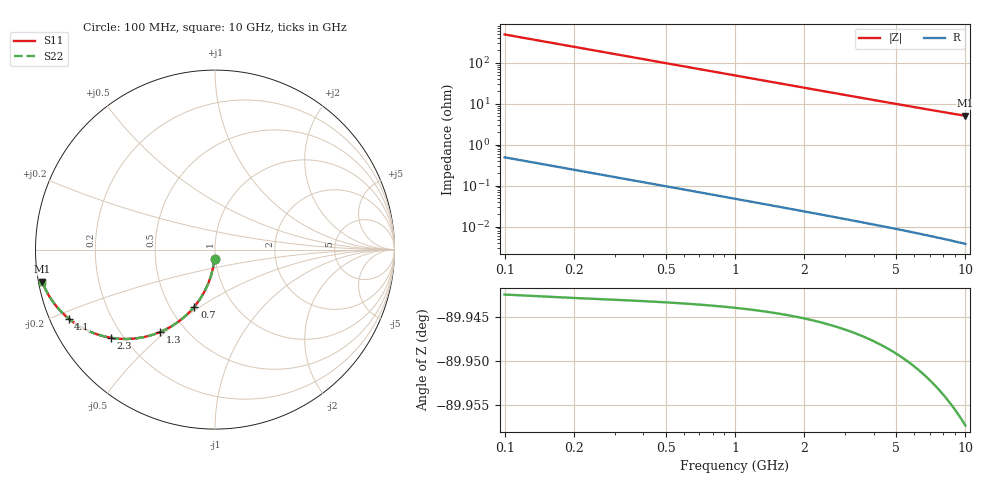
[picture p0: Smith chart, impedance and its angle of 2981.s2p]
# Hz S RI R 50.00
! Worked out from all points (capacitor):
!   100 points, 100 MHz to 10 GHz, reference 50 ohm
!   read as one part in shunt: C = 3.26 pF near 100 MHz
!   lowest |Z| = 5.05 ohm at 10 GHz (marker M1)
!   S11 on the Smith chart (normalised r, x): 100 MHz: 0.99, -0.10; 700 MHz: 0.66, -0.47; 1.3 GHz: 0.36, -0.48; 2.3 GHz: 0.15, -0.36; 4.1 GHz: 0.05, -0.22; 10 GHz: 0.01, -0.09
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1e8  -0.00262 -0.051  0.9973 -0.0512  0.9973 -0.0512  -0.00262 -0.051
2e8  -0.0104 -0.1013  0.9894 -0.1016  0.9894 -0.1016  -0.0104 -0.1013
3e8  -0.0232 -0.15  0.9767 -0.1504  0.9767 -0.1504  -0.0232 -0.15
4e8  -0.0405 -0.1964  0.9594 -0.197  0.9594 -0.197  -0.0405 -0.1964
5e8  -0.0618 -0.24  0.9381 -0.2408  0.9381 -0.2408  -0.0618 -0.24
6e8  -0.0866 -0.2804  0.9133 -0.2813  0.9133 -0.2813  -0.0866 -0.2804
7e8  -0.1143 -0.3171  0.8856 -0.3183  0.8856 -0.3183  -0.1143 -0.3171
8e8  -0.1442 -0.3502  0.8557 -0.3515  0.8557 -0.3515  -0.1442 -0.3502
1e9  -0.2083 -0.4048  0.7916 -0.4064  0.7916 -0.4064  -0.2083 -0.4048
1.3e9  -0.3077 -0.46  0.6922 -0.4621  0.6922 -0.4621  -0.3077 -0.46
1.5e9  -0.3716 -0.4815  0.6282 -0.484  0.6282 -0.484  -0.3716 -0.4815
1.8e9  -0.4599 -0.4964  0.54 -0.4993  0.54 -0.4993  -0.4599 -0.4964
2e9  -0.5124 -0.4977  0.4875 -0.501  0.4875 -0.501  -0.5124 -0.4977
2.3e9  -0.5815 -0.4909  0.4184 -0.4947  0.4184 -0.4947  -0.5815 -0.4909
2.8e9  -0.6731 -0.4663  0.3268 -0.4708  0.3268 -0.4708  -0.6731 -0.4663
3.4e9  -0.7522 -0.4284  0.2477 -0.434  0.2477 -0.434  -0.7522 -0.4284
4.1e9  -0.8153 -0.3842  0.1846 -0.3908  0.1846 -0.3908  -0.8153 -0.3842
5.1e9  -0.8723 -0.329  0.1275 -0.3373  0.1275 -0.3373  -0.8723 -0.329
5.8e9  -0.8984 -0.2968  0.1015 -0.3063  0.1015 -0.3063  -0.8984 -0.2968
6.7e9  -0.9219 -0.2621  0.0779 -0.2731  0.0779 -0.2731  -0.9219 -0.2621
8.4e9  -0.949 -0.2123  0.0508 -0.2262  0.0508 -0.2262  -0.949 -0.2123
1e10  -0.9636 -0.1781  0.0361 -0.1947  0.0361 -0.1947  -0.9636 -0.1781
